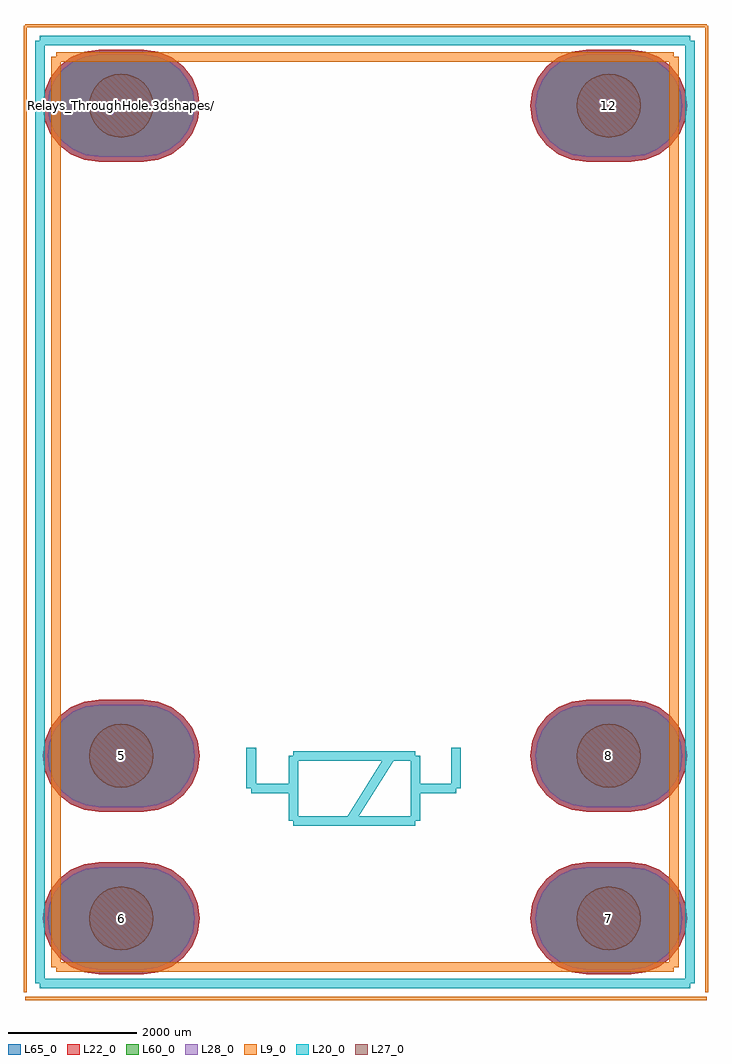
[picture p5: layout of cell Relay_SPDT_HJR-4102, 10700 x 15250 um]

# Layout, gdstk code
import gdstk
lib = gdstk.Library(unit=1e-6, precision=1e-09)
def P(c, l, *ps):  # polygons
    for p in ps: c.add(gdstk.Polygon(p, *l))
L9_0 = (9, 0)
L20_0 = (20, 0)
L22_0 = (22, 0)
L27_0 = (27, 0)
L28_0 = (28, 0)
L60_0 = (60, 0)
L65_0 = (65, 0)

relay_spdt_hjr_4102 = lib.new_cell('Relay_SPDT_HJR-4102')
P(relay_spdt_hjr_4102, L22_0, [(-350,-13575),(350,-13575),(576.467,-13545.185),(787.5,-13457.772),(968.718,-13318.718),(1107.772,-13137.5),(1195.185,-12926.467),(1225,-12700),(1195.185,-12473.533),(1107.772,-12262.5),(968.718,-12081.282),(787.5,-11942.228),(576.467,-11854.815),(350,-11825),(-350,-11825),(-576.467,-11854.815),(-787.5,-11942.228),(-968.718,-12081.282),(-1107.772,-12262.5),(-1195.185,-12473.533),(-1225,-12700),(-1195.185,-12926.467),(-1107.772,-13137.5),(-968.718,-13318.718),(-787.5,-13457.772),(-576.467,-13545.185)],
  [(7270,-13575),(7970,-13575),(8196.467,-13545.185),(8407.5,-13457.772),(8588.718,-13318.718),(8727.772,-13137.5),(8815.185,-12926.467),(8845,-12700),(8815.185,-12473.533),(8727.772,-12262.5),(8588.718,-12081.282),(8407.5,-11942.228),(8196.467,-11854.815),(7970,-11825),(7270,-11825),(7043.533,-11854.815),(6832.5,-11942.228),(6651.282,-12081.282),(6512.228,-12262.5),(6424.815,-12473.533),(6395,-12700),(6424.815,-12926.467),(6512.228,-13137.5),(6651.282,-13318.718),(6832.5,-13457.772),(7043.533,-13545.185)],
  [(-350,-11035),(350,-11035),(576.467,-11005.185),(787.5,-10917.772),(968.718,-10778.718),(1107.772,-10597.5),(1195.185,-10386.467),(1225,-10160),(1195.185,-9933.533),(1107.772,-9722.5),(968.718,-9541.282),(787.5,-9402.228),(576.467,-9314.815),(350,-9285),(-350,-9285),(-576.467,-9314.815),(-787.5,-9402.228),(-968.718,-9541.282),(-1107.772,-9722.5),(-1195.185,-9933.533),(-1225,-10160),(-1195.185,-10386.467),(-1107.772,-10597.5),(-968.718,-10778.718),(-787.5,-10917.772),(-576.467,-11005.185)],
  [(-350,-875),(350,-875),(576.467,-845.185),(787.5,-757.772),(968.718,-618.718),(1107.772,-437.5),(1195.185,-226.467),(1225,0),(1195.185,226.467),(1107.772,437.5),(968.718,618.718),(787.5,757.772),(576.467,845.185),(350,875),(-350,875),(-576.467,845.185),(-787.5,757.772),(-968.718,618.718),(-1107.772,437.5),(-1195.185,226.467),(-1225,0),(-1195.185,-226.467),(-1107.772,-437.5),(-968.718,-618.718),(-787.5,-757.772),(-576.467,-845.185)],
  [(7270,-11035),(7970,-11035),(8196.467,-11005.185),(8407.5,-10917.772),(8588.718,-10778.718),(8727.772,-10597.5),(8815.185,-10386.467),(8845,-10160),(8815.185,-9933.533),(8727.772,-9722.5),(8588.718,-9541.282),(8407.5,-9402.228),(8196.467,-9314.815),(7970,-9285),(7270,-9285),(7043.533,-9314.815),(6832.5,-9402.228),(6651.282,-9541.282),(6512.228,-9722.5),(6424.815,-9933.533),(6395,-10160),(6424.815,-10386.467),(6512.228,-10597.5),(6651.282,-10778.718),(6832.5,-10917.772),(7043.533,-11005.185)],
  [(7270,-875),(7970,-875),(8196.467,-845.185),(8407.5,-757.772),(8588.718,-618.718),(8727.772,-437.5),(8815.185,-226.467),(8845,0),(8815.185,226.467),(8727.772,437.5),(8588.718,618.718),(8407.5,757.772),(8196.467,845.185),(7970,875),(7270,875),(7043.533,845.185),(6832.5,757.772),(6651.282,618.718),(6512.228,437.5),(6424.815,226.467),(6395,0),(6424.815,-226.467),(6512.228,-437.5),(6651.282,-618.718),(6832.5,-757.772),(7043.533,-845.185)])
P(relay_spdt_hjr_4102, L27_0, [(499.999,-12700),(490.392,-12602.455),(461.939,-12508.659),(415.734,-12422.215),(353.553,-12346.447),(277.785,-12284.266),(191.341,-12238.061),(97.545,-12209.608),(0,-12200.001),(-97.545,-12209.608),(-191.341,-12238.061),(-277.785,-12284.266),(-353.553,-12346.447),(-415.734,-12422.215),(-461.939,-12508.659),(-490.392,-12602.455),(-499.999,-12700),(-490.392,-12797.545),(-461.939,-12891.341),(-415.734,-12977.785),(-353.553,-13053.553),(-277.785,-13115.734),(-191.341,-13161.939),(-97.545,-13190.392),(0,-13199.999),(97.545,-13190.392),(191.341,-13161.939),(277.785,-13115.734),(353.553,-13053.553),(415.734,-12977.785),(461.939,-12891.341),(490.392,-12797.545)],
  [(8119.999,-12700),(8110.392,-12602.455),(8081.939,-12508.659),(8035.734,-12422.215),(7973.553,-12346.447),(7897.785,-12284.266),(7811.341,-12238.061),(7717.545,-12209.608),(7620,-12200.001),(7522.455,-12209.608),(7428.659,-12238.061),(7342.215,-12284.266),(7266.447,-12346.447),(7204.266,-12422.215),(7158.061,-12508.659),(7129.608,-12602.455),(7120.001,-12700),(7129.608,-12797.545),(7158.061,-12891.341),(7204.266,-12977.785),(7266.447,-13053.553),(7342.215,-13115.734),(7428.659,-13161.939),(7522.455,-13190.392),(7620,-13199.999),(7717.545,-13190.392),(7811.341,-13161.939),(7897.785,-13115.734),(7973.553,-13053.553),(8035.734,-12977.785),(8081.939,-12891.341),(8110.392,-12797.545)],
  [(499.999,-10160),(490.392,-10062.455),(461.939,-9968.659),(415.734,-9882.215),(353.553,-9806.447),(277.785,-9744.266),(191.341,-9698.061),(97.545,-9669.608),(0,-9660.001),(-97.545,-9669.608),(-191.341,-9698.061),(-277.785,-9744.266),(-353.553,-9806.447),(-415.734,-9882.215),(-461.939,-9968.659),(-490.392,-10062.455),(-499.999,-10160),(-490.392,-10257.545),(-461.939,-10351.341),(-415.734,-10437.785),(-353.553,-10513.553),(-277.785,-10575.734),(-191.341,-10621.939),(-97.545,-10650.392),(0,-10659.999),(97.545,-10650.392),(191.341,-10621.939),(277.785,-10575.734),(353.553,-10513.553),(415.734,-10437.785),(461.939,-10351.341),(490.392,-10257.545)],
  [(499.999,0),(490.392,97.545),(461.939,191.341),(415.734,277.785),(353.553,353.553),(277.785,415.734),(191.341,461.939),(97.545,490.392),(0,499.999),(-97.545,490.392),(-191.341,461.939),(-277.785,415.734),(-353.553,353.553),(-415.734,277.785),(-461.939,191.341),(-490.392,97.545),(-499.999,0),(-490.392,-97.545),(-461.939,-191.341),(-415.734,-277.785),(-353.553,-353.553),(-277.785,-415.734),(-191.341,-461.939),(-97.545,-490.392),(0,-499.999),(97.545,-490.392),(191.341,-461.939),(277.785,-415.734),(353.553,-353.553),(415.734,-277.785),(461.939,-191.341),(490.392,-97.545)],
  [(8119.999,-10160),(8110.392,-10062.455),(8081.939,-9968.659),(8035.734,-9882.215),(7973.553,-9806.447),(7897.785,-9744.266),(7811.341,-9698.061),(7717.545,-9669.608),(7620,-9660.001),(7522.455,-9669.608),(7428.659,-9698.061),(7342.215,-9744.266),(7266.447,-9806.447),(7204.266,-9882.215),(7158.061,-9968.659),(7129.608,-10062.455),(7120.001,-10160),(7129.608,-10257.545),(7158.061,-10351.341),(7204.266,-10437.785),(7266.447,-10513.553),(7342.215,-10575.734),(7428.659,-10621.939),(7522.455,-10650.392),(7620,-10659.999),(7717.545,-10650.392),(7811.341,-10621.939),(7897.785,-10575.734),(7973.553,-10513.553),(8035.734,-10437.785),(8081.939,-10351.341),(8110.392,-10257.545)],
  [(8119.999,0),(8110.392,97.545),(8081.939,191.341),(8035.734,277.785),(7973.553,353.553),(7897.785,415.734),(7811.341,461.939),(7717.545,490.392),(7620,499.999),(7522.455,490.392),(7428.659,461.939),(7342.215,415.734),(7266.447,353.553),(7204.266,277.785),(7158.061,191.341),(7129.608,97.545),(7120.001,0),(7129.608,-97.545),(7158.061,-191.341),(7204.266,-277.785),(7266.447,-353.553),(7342.215,-415.734),(7428.659,-461.939),(7522.455,-490.392),(7620,-499.999),(7717.545,-490.392),(7811.341,-461.939),(7897.785,-415.734),(7973.553,-353.553),(8035.734,-277.785),(8081.939,-191.341),(8110.392,-97.545)])
P(relay_spdt_hjr_4102, L28_0, [(-350,-13500),(350,-13500),(557.055,-13472.741),(750,-13392.82),(915.685,-13265.685),(1042.82,-13100),(1122.741,-12907.055),(1150,-12700),(1122.741,-12492.945),(1042.82,-12300),(915.685,-12134.315),(750,-12007.18),(557.055,-11927.259),(350,-11900),(-350,-11900),(-557.055,-11927.259),(-750,-12007.18),(-915.685,-12134.315),(-1042.82,-12300),(-1122.741,-12492.945),(-1150,-12700),(-1122.741,-12907.055),(-1042.82,-13100),(-915.685,-13265.685),(-750,-13392.82),(-557.055,-13472.741)],
  [(7270,-13500),(7970,-13500),(8177.055,-13472.741),(8370,-13392.82),(8535.685,-13265.685),(8662.82,-13100),(8742.741,-12907.055),(8770,-12700),(8742.741,-12492.945),(8662.82,-12300),(8535.685,-12134.315),(8370,-12007.18),(8177.055,-11927.259),(7970,-11900),(7270,-11900),(7062.945,-11927.259),(6870,-12007.18),(6704.315,-12134.315),(6577.18,-12300),(6497.259,-12492.945),(6470,-12700),(6497.259,-12907.055),(6577.18,-13100),(6704.315,-13265.685),(6870,-13392.82),(7062.945,-13472.741)],
  [(-350,-10960),(350,-10960),(557.055,-10932.741),(750,-10852.82),(915.685,-10725.685),(1042.82,-10560),(1122.741,-10367.055),(1150,-10160),(1122.741,-9952.945),(1042.82,-9760),(915.685,-9594.315),(750,-9467.18),(557.055,-9387.259),(350,-9360),(-350,-9360),(-557.055,-9387.259),(-750,-9467.18),(-915.685,-9594.315),(-1042.82,-9760),(-1122.741,-9952.945),(-1150,-10160),(-1122.741,-10367.055),(-1042.82,-10560),(-915.685,-10725.685),(-750,-10852.82),(-557.055,-10932.741)],
  [(-350,-800),(350,-800),(557.055,-772.741),(750,-692.82),(915.685,-565.685),(1042.82,-400),(1122.741,-207.055),(1150,0),(1122.741,207.055),(1042.82,400),(915.685,565.685),(750,692.82),(557.055,772.741),(350,800),(-350,800),(-557.055,772.741),(-750,692.82),(-915.685,565.685),(-1042.82,400),(-1122.741,207.055),(-1150,0),(-1122.741,-207.055),(-1042.82,-400),(-915.685,-565.685),(-750,-692.82),(-557.055,-772.741)],
  [(7270,-10960),(7970,-10960),(8177.055,-10932.741),(8370,-10852.82),(8535.685,-10725.685),(8662.82,-10560),(8742.741,-10367.055),(8770,-10160),(8742.741,-9952.945),(8662.82,-9760),(8535.685,-9594.315),(8370,-9467.18),(8177.055,-9387.259),(7970,-9360),(7270,-9360),(7062.945,-9387.259),(6870,-9467.18),(6704.315,-9594.315),(6577.18,-9760),(6497.259,-9952.945),(6470,-10160),(6497.259,-10367.055),(6577.18,-10560),(6704.315,-10725.685),(6870,-10852.82),(7062.945,-10932.741)],
  [(7270,-800),(7970,-800),(8177.055,-772.741),(8370,-692.82),(8535.685,-565.685),(8662.82,-400),(8742.741,-207.055),(8770,0),(8742.741,207.055),(8662.82,400),(8535.685,565.685),(8370,692.82),(8177.055,772.741),(7970,800),(7270,800),(7062.945,772.741),(6870,692.82),(6704.315,565.685),(6577.18,400),(6497.259,207.055),(6470,0),(6497.259,-207.055),(6577.18,-400),(6704.315,-565.685),(6870,-692.82),(7062.945,-772.741)])
P(relay_spdt_hjr_4102, L60_0, [(-350,-13500),(350,-13500),(557.055,-13472.741),(750,-13392.82),(915.685,-13265.685),(1042.82,-13100),(1122.741,-12907.055),(1150,-12700),(1122.741,-12492.945),(1042.82,-12300),(915.685,-12134.315),(750,-12007.18),(557.055,-11927.259),(350,-11900),(-350,-11900),(-557.055,-11927.259),(-750,-12007.18),(-915.685,-12134.315),(-1042.82,-12300),(-1122.741,-12492.945),(-1150,-12700),(-1122.741,-12907.055),(-1042.82,-13100),(-915.685,-13265.685),(-750,-13392.82),(-557.055,-13472.741)],
  [(7270,-13500),(7970,-13500),(8177.055,-13472.741),(8370,-13392.82),(8535.685,-13265.685),(8662.82,-13100),(8742.741,-12907.055),(8770,-12700),(8742.741,-12492.945),(8662.82,-12300),(8535.685,-12134.315),(8370,-12007.18),(8177.055,-11927.259),(7970,-11900),(7270,-11900),(7062.945,-11927.259),(6870,-12007.18),(6704.315,-12134.315),(6577.18,-12300),(6497.259,-12492.945),(6470,-12700),(6497.259,-12907.055),(6577.18,-13100),(6704.315,-13265.685),(6870,-13392.82),(7062.945,-13472.741)],
  [(-350,-10960),(350,-10960),(557.055,-10932.741),(750,-10852.82),(915.685,-10725.685),(1042.82,-10560),(1122.741,-10367.055),(1150,-10160),(1122.741,-9952.945),(1042.82,-9760),(915.685,-9594.315),(750,-9467.18),(557.055,-9387.259),(350,-9360),(-350,-9360),(-557.055,-9387.259),(-750,-9467.18),(-915.685,-9594.315),(-1042.82,-9760),(-1122.741,-9952.945),(-1150,-10160),(-1122.741,-10367.055),(-1042.82,-10560),(-915.685,-10725.685),(-750,-10852.82),(-557.055,-10932.741)],
  [(-350,-800),(350,-800),(557.055,-772.741),(750,-692.82),(915.685,-565.685),(1042.82,-400),(1122.741,-207.055),(1150,0),(1122.741,207.055),(1042.82,400),(915.685,565.685),(750,692.82),(557.055,772.741),(350,800),(-350,800),(-557.055,772.741),(-750,692.82),(-915.685,565.685),(-1042.82,400),(-1122.741,207.055),(-1150,0),(-1122.741,-207.055),(-1042.82,-400),(-915.685,-565.685),(-750,-692.82),(-557.055,-772.741)],
  [(7270,-10960),(7970,-10960),(8177.055,-10932.741),(8370,-10852.82),(8535.685,-10725.685),(8662.82,-10560),(8742.741,-10367.055),(8770,-10160),(8742.741,-9952.945),(8662.82,-9760),(8535.685,-9594.315),(8370,-9467.18),(8177.055,-9387.259),(7970,-9360),(7270,-9360),(7062.945,-9387.259),(6870,-9467.18),(6704.315,-9594.315),(6577.18,-9760),(6497.259,-9952.945),(6470,-10160),(6497.259,-10367.055),(6577.18,-10560),(6704.315,-10725.685),(6870,-10852.82),(7062.945,-10932.741)],
  [(7270,-800),(7970,-800),(8177.055,-772.741),(8370,-692.82),(8535.685,-565.685),(8662.82,-400),(8742.741,-207.055),(8770,0),(8742.741,207.055),(8662.82,400),(8535.685,565.685),(8370,692.82),(8177.055,772.741),(7970,800),(7270,800),(7062.945,772.741),(6870,692.82),(6704.315,565.685),(6577.18,400),(6497.259,207.055),(6470,0),(6497.259,-207.055),(6577.18,-400),(6704.315,-565.685),(6870,-692.82),(7062.945,-772.741)])
P(relay_spdt_hjr_4102, L65_0, [(-350,-13575),(350,-13575),(576.467,-13545.185),(787.5,-13457.772),(968.718,-13318.718),(1107.772,-13137.5),(1195.185,-12926.467),(1225,-12700),(1195.185,-12473.533),(1107.772,-12262.5),(968.718,-12081.282),(787.5,-11942.228),(576.467,-11854.815),(350,-11825),(-350,-11825),(-576.467,-11854.815),(-787.5,-11942.228),(-968.718,-12081.282),(-1107.772,-12262.5),(-1195.185,-12473.533),(-1225,-12700),(-1195.185,-12926.467),(-1107.772,-13137.5),(-968.718,-13318.718),(-787.5,-13457.772),(-576.467,-13545.185)],
  [(7270,-13575),(7970,-13575),(8196.467,-13545.185),(8407.5,-13457.772),(8588.718,-13318.718),(8727.772,-13137.5),(8815.185,-12926.467),(8845,-12700),(8815.185,-12473.533),(8727.772,-12262.5),(8588.718,-12081.282),(8407.5,-11942.228),(8196.467,-11854.815),(7970,-11825),(7270,-11825),(7043.533,-11854.815),(6832.5,-11942.228),(6651.282,-12081.282),(6512.228,-12262.5),(6424.815,-12473.533),(6395,-12700),(6424.815,-12926.467),(6512.228,-13137.5),(6651.282,-13318.718),(6832.5,-13457.772),(7043.533,-13545.185)],
  [(-350,-11035),(350,-11035),(576.467,-11005.185),(787.5,-10917.772),(968.718,-10778.718),(1107.772,-10597.5),(1195.185,-10386.467),(1225,-10160),(1195.185,-9933.533),(1107.772,-9722.5),(968.718,-9541.282),(787.5,-9402.228),(576.467,-9314.815),(350,-9285),(-350,-9285),(-576.467,-9314.815),(-787.5,-9402.228),(-968.718,-9541.282),(-1107.772,-9722.5),(-1195.185,-9933.533),(-1225,-10160),(-1195.185,-10386.467),(-1107.772,-10597.5),(-968.718,-10778.718),(-787.5,-10917.772),(-576.467,-11005.185)],
  [(-350,-875),(350,-875),(576.467,-845.185),(787.5,-757.772),(968.718,-618.718),(1107.772,-437.5),(1195.185,-226.467),(1225,0),(1195.185,226.467),(1107.772,437.5),(968.718,618.718),(787.5,757.772),(576.467,845.185),(350,875),(-350,875),(-576.467,845.185),(-787.5,757.772),(-968.718,618.718),(-1107.772,437.5),(-1195.185,226.467),(-1225,0),(-1195.185,-226.467),(-1107.772,-437.5),(-968.718,-618.718),(-787.5,-757.772),(-576.467,-845.185)],
  [(7270,-11035),(7970,-11035),(8196.467,-11005.185),(8407.5,-10917.772),(8588.718,-10778.718),(8727.772,-10597.5),(8815.185,-10386.467),(8845,-10160),(8815.185,-9933.533),(8727.772,-9722.5),(8588.718,-9541.282),(8407.5,-9402.228),(8196.467,-9314.815),(7970,-9285),(7270,-9285),(7043.533,-9314.815),(6832.5,-9402.228),(6651.282,-9541.282),(6512.228,-9722.5),(6424.815,-9933.533),(6395,-10160),(6424.815,-10386.467),(6512.228,-10597.5),(6651.282,-10778.718),(6832.5,-10917.772),(7043.533,-11005.185)],
  [(7270,-875),(7970,-875),(8196.467,-845.185),(8407.5,-757.772),(8588.718,-618.718),(8727.772,-437.5),(8815.185,-226.467),(8845,0),(8815.185,226.467),(8727.772,437.5),(8588.718,618.718),(8407.5,757.772),(8196.467,845.185),(7970,875),(7270,875),(7043.533,845.185),(6832.5,757.772),(6651.282,618.718),(6512.228,437.5),(6424.815,226.467),(6395,0),(6424.815,-226.467),(6512.228,-437.5),(6651.282,-618.718),(6832.5,-757.772),(7043.533,-845.185)])
relay_spdt_hjr_4102.add(gdstk.FlexPath([(4597,-10160),(4597,-11176)], 149.998, ends="flush", simple_path=True, layer=20, datatype=0))  # L20_0
relay_spdt_hjr_4102.add(gdstk.FlexPath([(2692,-11176),(4597,-11176)], 149.998, ends="flush", simple_path=True, layer=20, datatype=0))  # L20_0
relay_spdt_hjr_4102.add(gdstk.FlexPath([(2692,-10160),(2692,-11176)], 149.998, ends="flush", simple_path=True, layer=20, datatype=0))  # L20_0
relay_spdt_hjr_4102.add(gdstk.FlexPath([(4597,-10160),(2692,-10160)], 149.998, ends="flush", simple_path=True, layer=20, datatype=0))  # L20_0
relay_spdt_hjr_4102.add(gdstk.FlexPath([(5232,-10668),(4597,-10668)], 149.998, ends="flush", simple_path=True, layer=20, datatype=0))  # L20_0
relay_spdt_hjr_4102.add(gdstk.FlexPath([(5232,-10033),(5232,-10668)], 149.998, ends="flush", simple_path=True, layer=20, datatype=0))  # L20_0
relay_spdt_hjr_4102.add(gdstk.FlexPath([(2032,-10668),(2692,-10668)], 149.998, ends="flush", simple_path=True, layer=20, datatype=0))  # L20_0
relay_spdt_hjr_4102.add(gdstk.FlexPath([(2032,-10033),(2032,-10668)], 149.998, ends="flush", simple_path=True, layer=20, datatype=0))  # L20_0
relay_spdt_hjr_4102.add(gdstk.FlexPath([(4216,-10160),(3581,-11176)], 149.998, ends="flush", simple_path=True, layer=20, datatype=0))  # L20_0
relay_spdt_hjr_4102.add(gdstk.FlexPath([(-1016,-13462),(-1016,762)], 149.998, ends="flush", simple_path=True, layer=9, datatype=0))  # L9_0
relay_spdt_hjr_4102.add(gdstk.FlexPath([(8636,-13462),(-1016,-13462)], 149.998, ends="flush", simple_path=True, layer=9, datatype=0))  # L9_0
relay_spdt_hjr_4102.add(gdstk.FlexPath([(8636,762),(8636,-13462)], 149.998, ends="flush", simple_path=True, layer=9, datatype=0))  # L9_0
relay_spdt_hjr_4102.add(gdstk.FlexPath([(-1016,762),(8636,762)], 149.998, ends="flush", simple_path=True, layer=9, datatype=0))  # L9_0
relay_spdt_hjr_4102.add(gdstk.FlexPath([(-1270,1016),(8890,1016)], 149.998, ends="flush", simple_path=True, layer=20, datatype=0))  # L20_0
relay_spdt_hjr_4102.add(gdstk.FlexPath([(-1500,-13850),(-1500,1250)], 50, ends="flush", simple_path=True, layer=9, datatype=0))  # L9_0
relay_spdt_hjr_4102.add(gdstk.FlexPath([(9150,-13950),(-1500,-13950)], 50, ends="flush", simple_path=True, layer=9, datatype=0))  # L9_0
relay_spdt_hjr_4102.add(gdstk.FlexPath([(9150,1250),(9150,-13850)], 50, ends="flush", simple_path=True, layer=9, datatype=0))  # L9_0
relay_spdt_hjr_4102.add(gdstk.FlexPath([(-1500,1250),(9150,1250)], 50, ends="flush", simple_path=True, layer=9, datatype=0))  # L9_0
relay_spdt_hjr_4102.add(gdstk.FlexPath([(-1270,-13716),(-1270,1016)], 149.998, ends="flush", simple_path=True, layer=20, datatype=0))  # L20_0
relay_spdt_hjr_4102.add(gdstk.FlexPath([(8890,-13716),(-1270,-13716)], 149.998, ends="flush", simple_path=True, layer=20, datatype=0))  # L20_0
relay_spdt_hjr_4102.add(gdstk.FlexPath([(8890,1016),(8890,-13716)], 149.998, ends="flush", simple_path=True, layer=20, datatype=0))  # L20_0
relay_spdt_hjr_4102.add(gdstk.Label('Relays_ThroughHole.3dshapes/Relay_SPDT_HJR-4102.wrl', (0,0), layer=12, texttype=0))
relay_spdt_hjr_4102.add(gdstk.Label('6', (0,-12700), layer=28, texttype=0))
relay_spdt_hjr_4102.add(gdstk.Label('7', (7620,-12700), layer=28, texttype=0))
relay_spdt_hjr_4102.add(gdstk.Label('5', (0,-10160), layer=28, texttype=0))
relay_spdt_hjr_4102.add(gdstk.Label('1', (0,0), layer=28, texttype=0))
relay_spdt_hjr_4102.add(gdstk.Label('8', (7620,-10160), layer=28, texttype=0))
relay_spdt_hjr_4102.add(gdstk.Label('12', (7620,0), layer=28, texttype=0))
relay_spdt_hjr_4102.add(gdstk.Label('type', (4064,-14732), layer=9, texttype=0))
relay_spdt_hjr_4102.add(gdstk.Label('devicename', (1270,1778), layer=9, texttype=0))

lib.write_gds('Relay_SPDT_HJR-4102.gds')
